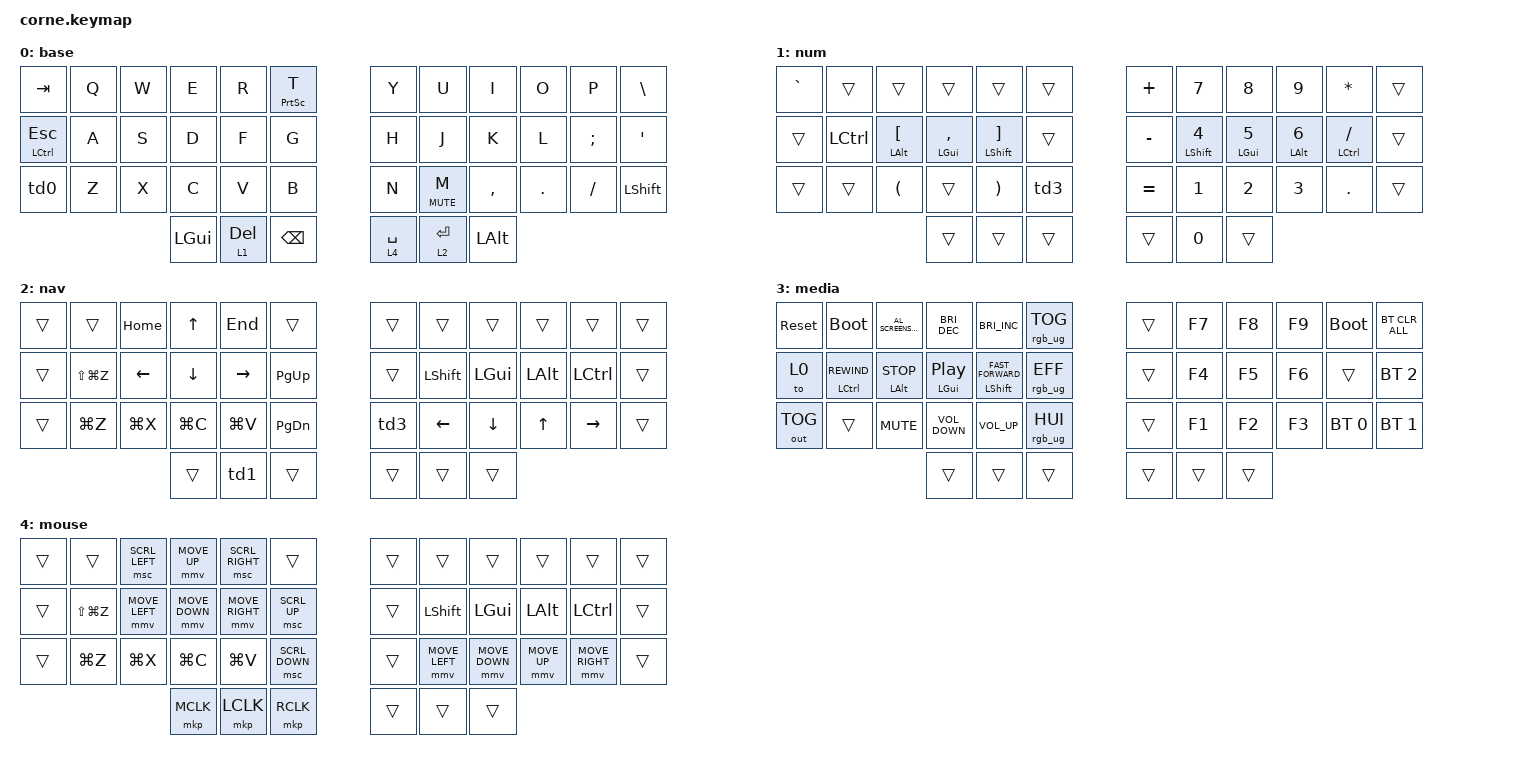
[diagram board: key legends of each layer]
/*
*
* Copyright (c) 2021 Darryl deHaan
* SPDX-License-Identifier: MIT
*
*/

#include <behaviors/mouse_keys.dtsi>
#include <behaviors.dtsi>
#include <dt-bindings/zmk/bt.h>
#include <dt-bindings/zmk/keys.h>
#include <dt-bindings/zmk/mouse.h>
#include <dt-bindings/zmk/outputs.h>
#include <dt-bindings/zmk/rgb.h>

/ {
    chosen {
        zmk,matrix_transform = &default_transform;

        // zmk,matrix_transform = &five_column_transform;
    };
};

&mt {
    tapping-term-ms = <200>;
    flavor = "tap-preferred";
};

/ {
    combos {
        compatible = "zmk,combos";

        combo_alt_tab {
            bindings = <&kp LA(TAB)>;
            key-positions = <27 28>;
            layers = <0>;
        };

        combo_grave {
            bindings = <&kp GRAVE>;
            key-positions = <0 1>;
            layers = <0>;
        };
    };

    behaviors {
        td0: td0 {
            compatible = "zmk,behavior-tap-dance";
            label = "TD0";
            #binding-cells = <0>;
            bindings = <&kp LEFT_SHIFT>, <&kp CAPSLOCK>;
        };

        mth: mth {
            compatible = "zmk,behavior-hold-tap";
            label = "MTH";
            bindings = <&kp>, <&kp>;

            #binding-cells = <2>;
            tapping-term-ms = <200>;
            flavor = "hold-preferred";
        };

        td1: td1 {
            compatible = "zmk,behavior-tap-dance";
            label = "TD1";
            #binding-cells = <0>;
            bindings = <&mo 3>, <&to 3>;
        };

        td3: td3 {
            compatible = "zmk,behavior-tap-dance";
            label = "TD3";
            #binding-cells = <0>;
            bindings = <&none>, <&kp LA(F4)>;
        };
    };

    keymap {
        compatible = "zmk,keymap";

        base {
            // -----------------------------------------------------------------------------------------
            // |  TAB |  Q  |  W  |  E  |  R  |  T  |   |  Y  |  U   |  I  |  O  |  P  | BKSP |
            // | CTRL |  A  |  S  |  D  |  F  |  G  |   |  H  |  J   |  K  |  L  |  ;  |  '   |
            // | SHFT |  Z  |  X  |  C  |  V  |  B  |   |  N  |  M   |  ,  |  .  |  /  | ESC  |
            //                    | GUI | LWR | SPC |   | ENT | RSE  | ALT |

            bindings = <
&kp TAB                   &kp Q  &kp W  &kp E     &kp R      &mt PRINTSCREEN T    &kp Y        &kp U         &kp I         &kp O    &kp P     &kp BSLH
&mth LEFT_CONTROL ESCAPE  &kp A  &kp S  &kp D     &kp F      &kp G                &kp H        &kp J         &kp K         &kp L    &kp SEMI  &kp SQT
&td0                      &kp Z  &kp X  &kp C     &kp V      &kp B                &kp N        &mt C_MUTE M  &kp COMMA     &kp DOT  &kp FSLH  &kp LEFT_SHIFT
                                        &kp LGUI  &lt 1 DEL  &kp BACKSPACE        &lt 4 SPACE  &lt 2 ENTER   &kp LEFT_ALT
            >;
        };

        num {
            bindings = <
&kp GRAVE  &trans     &trans                     &trans              &trans                        &trans    &kp PLUS   &kp N7             &kp N8           &kp N9           &kp ASTERISK     &trans
&trans     &kp LCTRL  &mt LEFT_ALT LEFT_BRACKET  &mt LEFT_GUI COMMA  &mt LEFT_SHIFT RIGHT_BRACKET  &trans    &kp MINUS  &mt LEFT_SHIFT N4  &mt LEFT_GUI N5  &mt LEFT_ALT N6  &mt LCTRL SLASH  &trans
&trans     &trans     &kp LEFT_PARENTHESIS       &trans              &kp RIGHT_PARENTHESIS         &td3      &kp EQUAL  &kp N1             &kp N2           &kp N3           &kp PERIOD       &trans
                                                 &trans              &trans                        &trans    &trans     &kp N0             &trans
            >;
        };

        nav {
            bindings = <
&trans  &trans         &kp HOME   &kp UP_ARROW  &kp END    &trans           &trans  &trans          &trans        &trans        &trans     &trans
&trans  &kp LS(LG(Z))  &kp LEFT   &kp DOWN      &kp RIGHT  &kp PAGE_UP      &trans  &kp LEFT_SHIFT  &kp LEFT_GUI  &kp LEFT_ALT  &kp LCTRL  &trans
&trans  &kp LG(Z)      &kp LG(X)  &kp LG(C)     &kp LG(V)  &kp PAGE_DOWN    &td3    &kp LEFT        &kp DOWN      &kp UP        &kp RIGHT  &trans
                                  &trans        &td1       &trans           &trans  &trans          &trans
            >;
        };

        media {
            bindings = <
&sys_reset    &bootloader         &kp C_AL_SCREENSAVER  &kp C_BRIGHTNESS_DEC       &kp C_BRIGHTNESS_INC           &rgb_ug RGB_TOG    &trans  &kp F7  &kp F8  &kp F9  &bootloader   &bt BT_CLR_ALL
&to 0         &mt LCTRL C_REWIND  &mt LEFT_ALT C_STOP   &mt LEFT_GUI C_PLAY_PAUSE  &mt LEFT_SHIFT C_FAST_FORWARD  &rgb_ug RGB_EFF    &trans  &kp F4  &kp F5  &kp F6  &trans        &bt BT_SEL 2
&out OUT_TOG  &trans              &kp C_MUTE            &kp C_VOLUME_DOWN          &kp C_VOLUME_UP                &rgb_ug RGB_HUI    &trans  &kp F1  &kp F2  &kp F3  &bt BT_SEL 0  &bt BT_SEL 1
                                                        &trans                     &trans                         &trans             &trans  &trans  &trans
            >;
        };

        mouse {
            bindings = <
&trans  &trans         &msc SCRL_LEFT  &mmv MOVE_UP    &msc SCRL_RIGHT  &trans            &trans  &trans          &trans          &trans        &trans           &trans
&trans  &kp LS(LG(Z))  &mmv MOVE_LEFT  &mmv MOVE_DOWN  &mmv MOVE_RIGHT  &msc SCRL_UP      &trans  &kp LEFT_SHIFT  &kp LEFT_GUI    &kp LEFT_ALT  &kp LCTRL        &trans
&trans  &kp LG(Z)      &kp LG(X)       &kp LG(C)       &kp LG(V)        &msc SCRL_DOWN    &trans  &mmv MOVE_LEFT  &mmv MOVE_DOWN  &mmv MOVE_UP  &mmv MOVE_RIGHT  &trans
                                       &mkp MCLK       &mkp LCLK        &mkp RCLK         &trans  &trans          &trans
            >;
        };
    };
};
